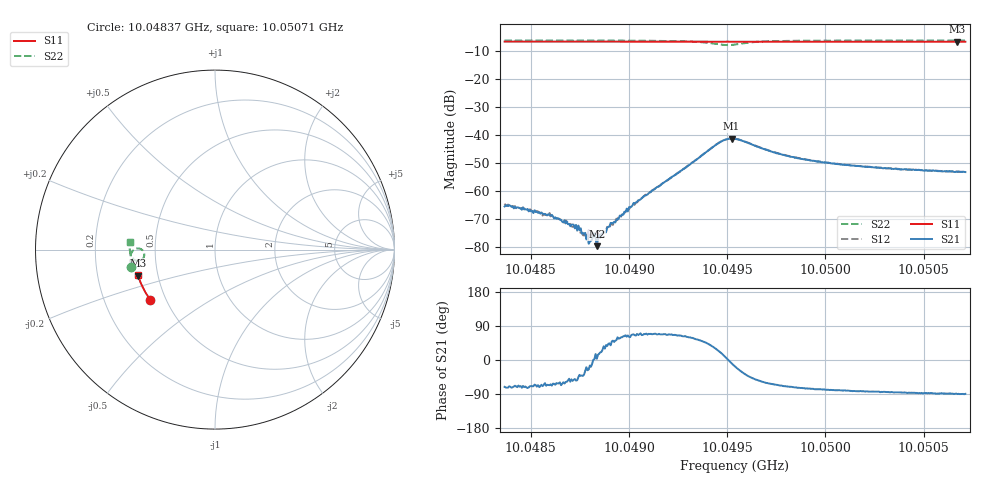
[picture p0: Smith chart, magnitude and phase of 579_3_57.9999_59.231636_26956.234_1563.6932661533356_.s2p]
#  HZ  S  RI  R  50.00
! Rohde & Schwarz Vector Network Analyzer
! Rohde-Schwarz,ZNB20-2Port,1311601062101988,3.16
! Created: UTC 3/21/2024, 1:16:15 AM
! freq[Hz]  re:S11  im:S11  re:S21  im:S21  re:S12  im:S12  re:S22  im:S22
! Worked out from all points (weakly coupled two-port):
!   401 points, 10.04837 GHz to 10.05071 GHz, reference 50 ohm
!   highest |S21| = -41.31 dB at 10.04952 GHz (marker M1); lowest = -79.6 dB at 10.04884 GHz (marker M2)
!   lowest |S11| = -6.9 dB at 10.05067 GHz (marker M3), VSWR 2.65, Z = 19.3 - j7.01 ohm
!   |S11| at or under -10 dB: nowhere
!   |S22| runs from -8.1 to -6.4 dB; largest |S21 - S12| = 0.00066
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1.0048367e10  -0.3611 -0.2789  0.000175 -0.000504  0.00023 -0.000554  -0.4678 -0.0945
1.0048601e10  -0.3701 -0.2662  0.00016 -0.000331  0.000157 -0.00032  -0.4701 -0.0775
1.004873e10  -0.3747 -0.2592  0.000146 -0.000203  0.000142 -0.000167  -0.471 -0.0675
1.004876e10  -0.3759 -0.2576  0.000133 -0.000115  0.000162 -8.37e-05  -0.4712 -0.0653
1.0048795e10  -0.3771 -0.2556  0.000105 -4.88e-05  0.000189 -7.48e-05  -0.4713 -0.0624
1.0048818e10  -0.378 -0.2543  0.000175 8.03e-07  0.000158 6.19e-06  -0.4715 -0.0604
1.0048836e10  -0.3785 -0.2532  0.000105 5.55e-06  0.00017 8.62e-06  -0.4714 -0.059
1.0048848e10  -0.3789 -0.2527  0.000153 4.49e-05  0.00016 5.84e-05  -0.4715 -0.0581
1.0048865e10  -0.3795 -0.2516  0.00016 8.06e-05  0.000157 7.82e-05  -0.4715 -0.0565
1.00489e10  -0.3807 -0.2496  0.000169 0.000163  0.000151 0.000156  -0.4716 -0.0536
1.0048935e10  -0.3819 -0.2476  0.000184 0.00024  0.000164 0.000279  -0.4715 -0.0505
1.0049012e10  -0.3846 -0.2433  0.000216 0.00048  0.000184 0.000506  -0.4712 -0.0433
1.0049152e10  -0.3892 -0.2352  0.000433 0.00113  0.00039 0.00117  -0.4687 -0.028
1.0049446e10  -0.3977 -0.218  0.00599 0.00319  0.00579 0.0036  -0.4132 0.00286
1.0049487e10  -0.3988 -0.216  0.00799 0.00135  0.00791 0.00187  -0.3965 -0.0149
1.0049522e10  -0.3996 -0.214  0.00851 -0.00127  0.00857 -0.000676  -0.3955 -0.0383
1.0049539e10  -0.4001 -0.2131  0.00811 -0.0025  0.00831 -0.00196  -0.4006 -0.0485
1.0049739e10  -0.4064 -0.2017  0.00209 -0.00441  0.00242 -0.00428  -0.462 -0.0461
1.0049932e10  -0.4117 -0.1901  0.000835 -0.00336  0.00105 -0.00334  -0.4723 -0.0216
1.0050325e10  -0.4214 -0.1661  0.000214 -0.00252  0.000379 -0.00253  -0.4754 0.0131
1.0050671e10  -0.4285 -0.1446  5.58e-06 -0.0022  0.00016 -0.00223  -0.4743 0.0389
1.0050712e10  -0.4295 -0.1421  2.41e-05 -0.00218  0.000125 -0.00218  -0.474 0.0418
